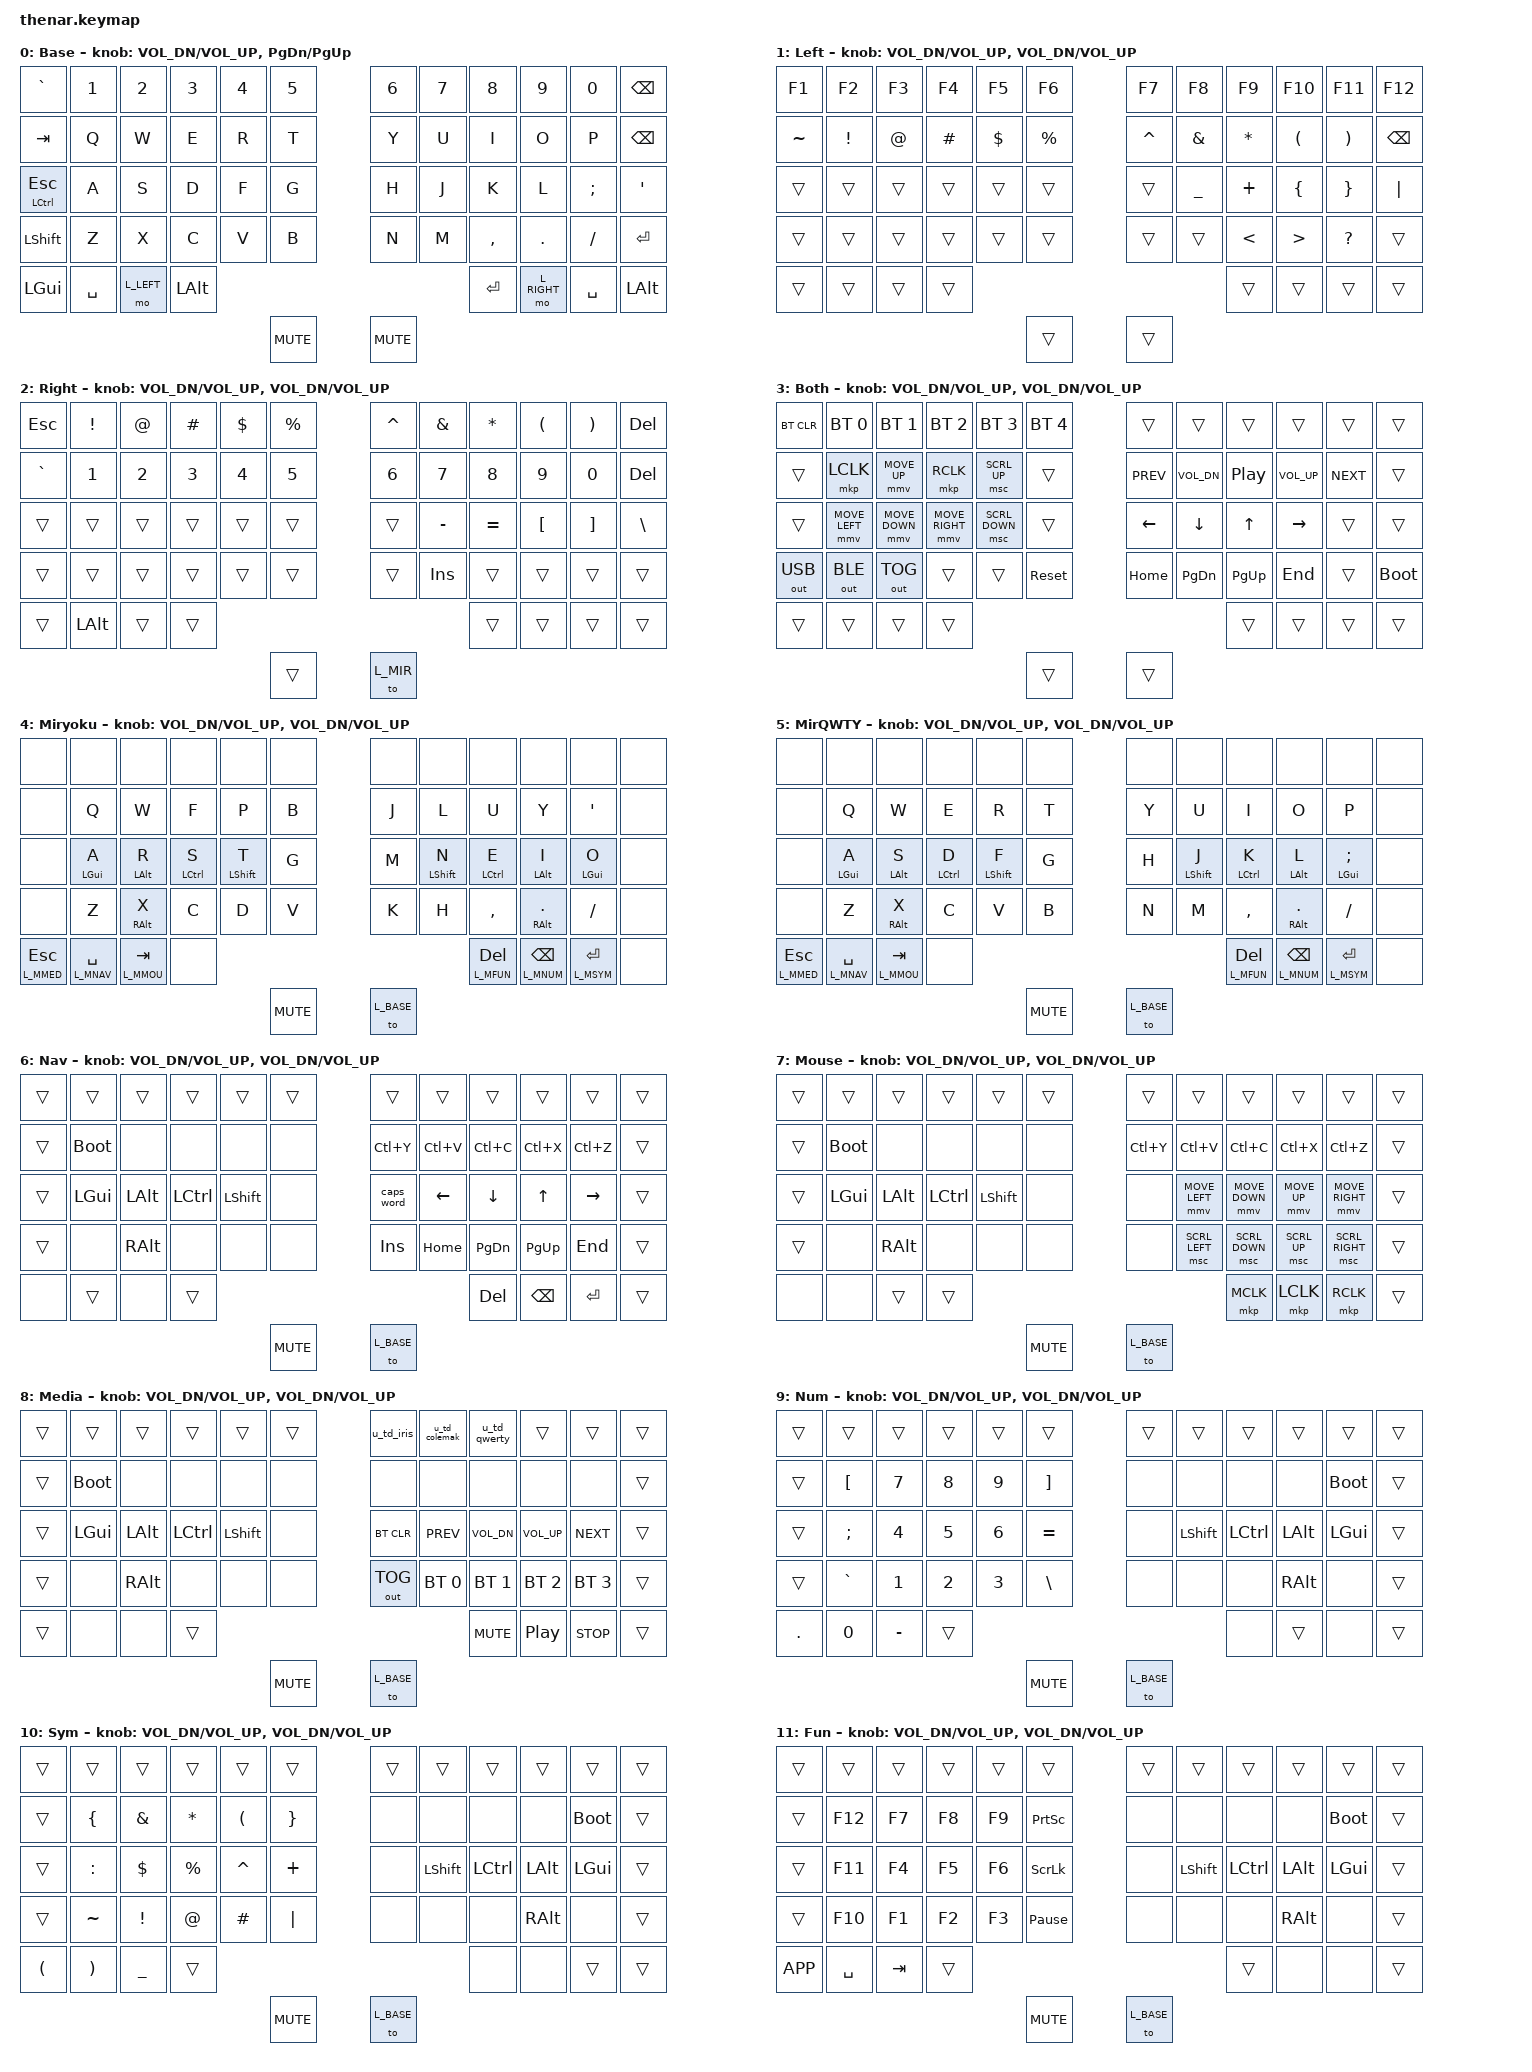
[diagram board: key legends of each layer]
#include <behaviors.dtsi>
#include <dt-bindings/zmk/keys.h>
#include <dt-bindings/zmk/bt.h>
#include <dt-bindings/zmk/outputs.h>
#include <dt-bindings/zmk/pointing.h>

// Daniel's thenar keymap.
//
// Two schemes live side by side:
//
//   1. Iris scheme (layers 0-3): a faithful port of the LIVE Iris CE
//      layout - the VIA config iris_ce_rev__1.layout.json from
//      https://git.lyte.dev/lytedev/keyboards/src/branch/master/iris-ce
//      (per its readme, VIA is the source of truth; keymap.c is older).
//      VIA layers 0/2/3/4 map to Base/Left/Right/Both here. VIA
//      layer 1 (a plain-ESC/TAB/LCTRL "gaming" overlay only reachable
//      through QMK DF() keys) is not ported.
//   2. Miryoku scheme (layers 4-11): the Miryoku reference layers
//      (https://github.com/manna-harbour/miryoku) for learning.
//
// Miryoku enter / variant-swap / exit:
//
//   ENTER : hold the Right layer (right thumb, pos 53) and click the
//           RIGHT encoder - that layer's right-encoder press is
//           &to L_MIR, landing on the Colemak-DH Miryoku base. Gated
//           behind a layer hold so a stray encoder click during normal
//           typing can't flip the layout. (A bare right-encoder click
//           on base is just K_MUTE.)
//   SWAP  : within Miryoku, swap the alpha variant by holding the Media
//           thumb (now pos 48, the OUTER left thumb after the thumb-
//           cluster shift) and DOUBLE-tapping a RIGHT-hand top-row key
//           (single tap does nothing - miryoku_zmk double-tap guard):
//             pos 19 (U) = Colemak-DH base   (double-tap)
//             pos 20 (I) = QWERTY base        (double-tap)
//             pos 18 (Y) = exit to regular Iris (double-tap)
//   EXIT  : click the RIGHT encoder from any Miryoku layer (it is
//           &to L_BASE there), or Media-thumb + double-tap pos-18 (Y).
//
// Radio control (BT profiles, output select, reset, bootloader) used to
// be a separate BT layer reached by a third &mo hop. It now lives
// directly on the Both layer's number row and bottom row.
// Miryoku reaches the same functions from its own Media layer, which
// carries &bt profile keys, &out OUT_TOG and &bt BT_CLR.
//
// Position layout (58 positions, left half then right half, top-to-bottom):
//
//   num   :  0  1  2  3  4  5    |    6  7  8  9 10 11
//   top   : 12 13 14 15 16 17    |   18 19 20 21 22 23
//   home  : 24 25 26 27 28 29    |   30 31 32 33 34 35
//   bot   : 36 37 38 39 40 41    |   42 43 44 45 46 47
//   mod   :        48 49 50 51   |   52 53 54 55
//                  ^^^ ^^^ ^^^  ^^^  ^^^ ^^^ ^^^ ^^^
//             middle  index thumb thumb thumb thumb index middle
//              mod   mod   layer space space layer mod    mod
//
//   enc   : 56 (left press)      |   57 (right press)
//
// Thumb arcs, per Daniel's spec (Iris halves are 4x6 + 1 inner extra +
// 3 thumbs; thenar halves are 4x6 + 2 mods + 2 thumbs + encoder press):
//
//   left,  outer->inner (48 49 50 51): LGUI  SPACE  MO(Left)  LALT
//   right, inner->outer (52 53 54 55): RET   MO(Right)  SPACE  LALT
//     ("outer" = furthest from the board's centre. BOTH halves are
//      written physical-left-to-right, same as the grid rows - so on the
//      right half position 52 is the INNERMOST thumb and 55 the
//      outermost. Confirmed against Daniel's on-hardware observation,
//      not assumed. Backspace lives on the top-row corners.)
//
//      Each hand gets exactly one LALT (51 left, 55 right) and one SPACE
//      (49 left, 54 right). The two layer-holds are one per hand -
//      Left on 50, Right on 53 - so the Both layer is always a
//      two-handed chord, unreachable by either thumb alone.
//
//      Until 2026-07 the matrix transform listed the right half's mod
//      row descending (RC(4,10)..RC(4,7)), so positions 52-55 ran
//      right-to-left while every other row ran left-to-right, and each
//      thumb line had to be read mirrored. The transform is now
//      ascending on both halves and the right-hand thumb groups were
//      reversed to match; key behavior is byte-for-byte unchanged.
//
// The Right layer (VIA's "Config"/MO(3)) is held by ONE key: pos 53, the
// right thumb. The left inner thumb (51) is the LALT modifier, mirroring
// LALT on the right outer thumb (55) - one Alt per hand. So reaching the
// Both layer is necessarily two-handed: 50 + 53. The right INNERMOST
// thumb (52) is Enter, with Backspace on the top-row corners (Daniel:
// "config thumb button to be enter on the right and enter to be
// backspace").
//
// Compromises:
//   - HOME and END (the Iris inner row-4 extras) leave base entirely;
//     they live on the Both layer's right bottom row (positions 42/45).
//   - Iris ESC_CTL (LCTL_T(KC_ESC)) becomes &mt LCTRL ESC. QMK's
//     PERMISSIVE_HOLD is approximated by ZMK's default hold-tap timing.
//   - VIA's Adjust layer is a nearly-empty overlay (plain ESC/TAB/LCTRL
//     on the left outer column). Ported with documented additions on
//     its free slots: the radio row and HOME/PGDN/PGUP/END.
//
// Miryoku notes:
//
//   - 3x5 alphas centered on the main block: outer columns (pinky-outer)
//     and the whole number row are &none, per Miryoku's "unused keys do
//     nothing" convention.
//   - Two alpha bases: Colemak-DH (mir_base, L_MIR) and QWERTY
//     (mir_qwerty, L_MQWY), swapped via the Media-layer base-swap keys
//     above. Both carry GACS home-row mods (GUI/Alt/Ctrl/Shift,
//     outer->inner) and RALT on the bottom-row X and DOT.
//   - Miryoku's 3 thumb keys per hand. Left 48/49/50 (outer->inner) =
//     ESC(Media)/SPC(Nav)/TAB(Mouse), so Nav/SPACE (49) shares the
//     physical key with Iris SPACE. Right 52/53/54 (inner->outer) =
//     DEL(Fun)/BSPC(Num)/RET(Sym). Unused: 51 (left innermost) and
//     55 (right outermost).
//
//     NOTE the asymmetry: the left hand leaves its INNERMOST thumb free
//     while the right hand leaves its OUTERMOST one free, so the two
//     clusters are not mirror images. This is preserved as-is from the
//     layout that was verified working on hardware - it is a layout
//     question, not the transform bug fixed above. Revisit only if the
//     right thumb reach actually feels wrong in use.
//   - Base-swap keys ARE implemented (Media top row, see above).
//     Miryoku's Button layer is omitted; clipboard keys use Ctrl-combos
//     (LC(Z) etc.) instead of AC_* usages for better OS compatibility.
//   - The Mouse layer needs CONFIG_ZMK_POINTING=y (set in thenar.conf).
//
// Encoders:
//   rotation: left = volume everywhere; right = PgDn/PgUp on Base
//             (volume on every other layer).
//   press   : left (56) = K_MUTE everywhere. Right (57) is the Miryoku
//             toggle: on the Iris base it is &to L_MIR (enter Miryoku
//             at Colemak-DH); on every Miryoku layer it is &to L_BASE
//             (exit). One consistent click in and out, since there is
//             no display for layer feedback. The other Iris layers
//             inherit the base right-press via &trans.
//
// NOTE: this file (config/thenar.keymap) is the keymap the build actually
// uses - it OVERRIDES boards/shields/thenar/thenar.keymap per ZMK's
// user-config convention. Edit here, not there.

// LAYER INDICES MUST MATCH THE ORDER OF THE CHILD NODES UNDER keymap {}.
// ZMK numbers layers by node order, not by these names ("Layers are
// numbered in the order that they appear in keymap node" -
// https://zmk.dev/docs/keymaps). Adding a layer in the middle silently
// renumbers everything after it. If you insert one, renumber here and
// re-check with the node-order listing at the bottom of this file.
//
// The first three overlays are named for WHICH THUMB HOLDS THEM, not for
// what is on them - keys get stuffed wherever they fit, so any semantic
// name (Lower/Raise/Adjust/Config/Nav) would go stale immediately. These
// deliberately avoid the word "alt": LALT is a real modifier sitting on
// the thumb keys right next to these holds.
#define L_BASE  0   // base_layer
#define L_LEFT  1   // left_layer   - held with the LEFT thumb (50)
#define L_RIGHT 2   // right_layer  - held with the RIGHT thumb (53)
#define L_BOTH  3   // both_layer   - both of the above (conditional layer)
#define L_MIR   4   // mir_base_layer
#define L_MQWY  5   // mir_qwerty_layer
#define L_MNAV  6   // mir_nav_layer
#define L_MMOU  7   // mir_mouse_layer
#define L_MMED  8   // mir_media_layer
#define L_MNUM  9   // mir_num_layer
#define L_MSYM  10  // mir_sym_layer
#define L_MFUN  11  // mir_fun_layer

/ {
    behaviors {
        // Miryoku-style home-row mod-tap: balanced flavor so a hold only
        // registers when another key is both pressed and released inside
        // the tapping term; quick-tap lets fast key repeats stay taps.
        hm: home_row_mod {
            compatible = "zmk,behavior-hold-tap";
            #binding-cells = <2>;
            bindings = <&kp>, <&kp>;
            flavor = "balanced";
            tapping-term-ms = <200>;
            quick-tap-ms = <150>;
            require-prior-idle-ms = <125>;
        };

        // Miryoku-style thumb layer-tap.
        tl: thumb_layer_tap {
            compatible = "zmk,behavior-hold-tap";
            #binding-cells = <2>;
            bindings = <&mo>, <&kp>;
            flavor = "balanced";
            tapping-term-ms = <200>;
            quick-tap-ms = <150>;
        };

        // Miryoku's double-tap guard for base-layout swaps: single tap
        // does nothing, DOUBLE tap switches base. Verbatim mechanism from
        // miryoku_zmk (miryoku_double_tap_guard.dtsi) - prevents an
        // accidental single press from flipping your whole alpha layout.
        u_td_iris: u_td_iris {
            compatible = "zmk,behavior-tap-dance";
            #binding-cells = <0>;
            tapping-term-ms = <200>;
            bindings = <&none>, <&to L_BASE>;
        };
        u_td_colemak: u_td_colemak {
            compatible = "zmk,behavior-tap-dance";
            #binding-cells = <0>;
            tapping-term-ms = <200>;
            bindings = <&none>, <&to L_MIR>;
        };
        u_td_qwerty: u_td_qwerty {
            compatible = "zmk,behavior-tap-dance";
            #binding-cells = <0>;
            tapping-term-ms = <200>;
            bindings = <&none>, <&to L_MQWY>;
        };
    };

    // Holding BOTH alt thumbs activates Both (nav/arrows/radio), the
    // QMK "adjust layer" pattern. Natural chord: left-thumb Left (50)
    // + right-thumb Right (53). Left has no second key, so that
    // chord is the only way in.
    conditional_layers {
        compatible = "zmk,conditional-layers";
        tri_layer {
            if-layers = <L_LEFT L_RIGHT>;
            then-layer = <L_BOTH>;
        };
    };

    keymap {
        compatible = "zmk,keymap";

        // ------------------------------------------------------------------
        // Iris scheme (VIA layers 0/2/3/4, key by key)
        // ------------------------------------------------------------------

        base_layer {
            display-name = "Base";
            bindings = <
&kp GRAVE      &kp N1 &kp N2 &kp N3 &kp N4 &kp N5                                                &kp N6 &kp N7 &kp N8    &kp N9  &kp N0   &kp BSPC
&kp TAB        &kp Q  &kp W  &kp E  &kp R  &kp T                                                 &kp Y  &kp U  &kp I     &kp O   &kp P    &kp BSPC
&mt LCTRL ESC  &kp A  &kp S  &kp D  &kp F  &kp G                                                 &kp H  &kp J  &kp K     &kp L   &kp SEMI &kp SQT
&kp LSHFT      &kp Z  &kp X  &kp C  &kp V  &kp B                                                 &kp N  &kp M  &kp COMMA &kp DOT &kp FSLH &kp RET
                             &kp LGUI &kp SPACE &mo L_LEFT &kp LALT             &kp RET &mo L_RIGHT &kp SPACE &kp LALT
&kp K_MUTE &kp K_MUTE
            >;

            // Right rotation = paging. PG_DN sits in the same slot as
            // C_VOL_DN on the other layers; flip the pair if the
            // direction feels wrong.
            sensor-bindings = <&inc_dec_kp C_VOL_DN C_VOL_UP &inc_dec_kp PG_DN PG_UP>;
        };

        // VIA layer 2 (held on the Left thumb, 50): F-row over shifted
        // symbols, _ + { } | and < > ? on the right hand. The thumb keys
        // are transparent so Right (53) falls through to its base
        // &mo L_RIGHT - holding Left + Right lets
        // conditional_layers raise Both (no manual
        // &mo L_BOTH overlay, which used to make the tri-layer order- and
        // half-dependent).
        left_layer {
            display-name = "Left";
            bindings = <
&kp F1    &kp F2   &kp F3 &kp F4   &kp F5   &kp F6                                               &kp F7    &kp F8    &kp F9    &kp F10  &kp F11   &kp F12
&kp TILDE &kp EXCL &kp AT &kp HASH &kp DLLR &kp PRCNT                                            &kp CARET &kp AMPS  &kp ASTRK &kp LPAR &kp RPAR  &kp BSPC
&trans    &trans   &trans &trans   &trans   &trans                                               &trans    &kp UNDER &kp PLUS  &kp LBRC &kp RBRC  &kp PIPE
&trans    &trans   &trans &trans   &trans   &trans                                               &trans    &trans    &kp LT    &kp GT   &kp QMARK &trans
                                 &trans &trans    &trans &trans                   &trans &trans &trans &trans
&trans &trans
            >;

            sensor-bindings = <&inc_dec_kp C_VOL_DN C_VOL_UP &inc_dec_kp C_VOL_DN C_VOL_UP>;
        };

        // Right = VIA layer 3 (held on the right thumb, 53):
        // shifted symbols over the number row,
        // - = [ ] \ on the right, INS on M. While held: LALT on SPACE
        // (49, VIA's left-space binding). The Left thumb (50) is
        // transparent, falling through to base &mo L_LEFT so holding
        // Right + Left raises Both too. The
        // right encoder press toggles the Miryoku scheme ON.
        right_layer {
            display-name = "Right";
            bindings = <
&kp ESC   &kp EXCL &kp AT &kp HASH &kp DLLR &kp PRCNT                                            &kp CARET &kp AMPS  &kp ASTRK &kp LPAR &kp RPAR &kp DEL
&kp GRAVE &kp N1   &kp N2 &kp N3   &kp N4   &kp N5                                               &kp N6    &kp N7    &kp N8    &kp N9   &kp N0   &kp DEL
&trans    &trans   &trans &trans   &trans   &trans                                               &trans    &kp MINUS &kp EQUAL &kp LBKT &kp RBKT &kp BSLH
&trans    &trans   &trans &trans   &trans   &trans                                               &trans    &kp INS   &trans    &trans   &trans   &trans
                                 &trans &kp LALT &trans    &trans             &trans &trans &trans &trans
&trans &to L_MIR
            >;

            sensor-bindings = <&inc_dec_kp C_VOL_DN C_VOL_UP &inc_dec_kp C_VOL_DN C_VOL_UP>;
        };

        // VIA layer 4 (Left+Right): the live config keeps this
        // nearly empty - just plain ESC/TAB/LCTRL on the left outer
        // column (un-mod-tapped variants of the base column). Additions
        // on its free slots: the radio row (absorbed from the old BT
        // layer) and HOME/PGDN/PGUP/END on the right bottom row.
        both_layer {
            display-name = "Both";
            // Faithful port of the Iris CE [LA] layer (his tri-layer,
            // reached by holding BOTH thumb alt keys): mouse + wheel on
            // the left, arrows on the right home row (HJKL),
            // HOME/PGDN/PGUP/END on the right bottom row, media on the
            // right top row.
            // KC_ACL0-2 (mouse accel) have no ZMK equivalent -> &none.
            //
            // The old separate BT layer folded into here (2026-07): its
            // radio keys were the only thing on it, they all landed on
            // slots that were &none/&trans here, and reaching it needed a
            // third hop through &mo. Number row is now the radio row -
            // BT_CLR then profiles 0-4, matching the old BT layer's own
            // placement. Output select sits under it on the bottom row.
            //
            // &sys_reset and &bootloader are deliberately parked on the
            // two far bottom corners: they are one hop closer than they
            // used to be, so they want positions no finger visits by
            // accident.
            bindings = <
&bt BT_CLR   &bt BT_SEL 0   &bt BT_SEL 1   &bt BT_SEL 2    &bt BT_SEL 3   &bt BT_SEL 4          &trans &trans   &trans   &trans   &trans    &trans
&trans    &mkp LCLK  &mmv MOVE_UP &mkp RCLK  &msc SCRL_UP  &trans                                &kp C_PREV &kp C_VOL_DN &kp C_PP &kp C_VOL_UP &kp C_NEXT &trans
&trans    &mmv MOVE_LEFT &mmv MOVE_DOWN &mmv MOVE_RIGHT &msc SCRL_DOWN &trans                    &kp LEFT &kp DOWN &kp UP   &kp RIGHT &trans   &trans
&out OUT_USB &out OUT_BLE &out OUT_TOG &trans  &trans      &sys_reset                            &kp HOME &kp PG_DN &kp PG_UP &kp END  &trans   &bootloader
                        &trans &trans &trans &trans                           &trans &trans &trans &trans
&trans &trans
            >;

            sensor-bindings = <&inc_dec_kp C_VOL_DN C_VOL_UP &inc_dec_kp C_VOL_DN C_VOL_UP>;
        };

        // ------------------------------------------------------------------
        // Miryoku scheme (enter: Config + encoder press;
        //                 exit: Media thumb + encoder press)
        // ------------------------------------------------------------------

        // Miryoku alpha: Colemak-DH with GACS home-row mods.
        mir_base_layer {
            display-name = "Miryoku";
            bindings = <
&none &none        &none        &none         &none         &none                                &none  &none         &none         &none        &none        &none
&none &kp Q        &kp W        &kp F         &kp P         &kp B                                &kp J  &kp L         &kp U         &kp Y        &kp SQT      &none
&none &hm LGUI A   &hm LALT R   &hm LCTRL S   &hm LSHFT T   &kp G                                &kp M  &hm LSHFT N   &hm LCTRL E   &hm LALT I   &hm LGUI O   &none
&none &kp Z        &hm RALT X   &kp C         &kp D         &kp V                                &kp K  &kp H         &kp COMMA     &hm RALT DOT &kp FSLH     &none
                   &tl L_MMED ESC &tl L_MNAV SPACE &tl L_MMOU TAB &none          &tl L_MFUN DEL &tl L_MNUM BSPC &tl L_MSYM RET &none
&kp K_MUTE &to L_BASE
            >;

            sensor-bindings = <&inc_dec_kp C_VOL_DN C_VOL_UP &inc_dec_kp C_VOL_DN C_VOL_UP>;
        };

        // Miryoku with QWERTY alphas - for learning the Miryoku layer
        // system without also relearning letter positions. Same thumbs
        // and layer taps as the Colemak-DH mir_base; only the 3x5 alpha
        // block + home-row-mod host keys differ. GACS home-row mods on
        // A/S/D/F + J/K/L/; (GUI Alt Ctrl Shift, outer->inner), RALT on
        // X and . like Miryoku's default. Enter: Config + RIGHT encoder
        // click (Config + LEFT click enters Colemak-DH). Exit: click
        // either encoder here (&tog L_MQWY).
        mir_qwerty_layer {
            display-name = "MirQWTY";
            bindings = <
&none &none        &none        &none         &none         &none                                &none  &none         &none         &none        &none        &none
&none &kp Q        &kp W        &kp E         &kp R         &kp T                                &kp Y  &kp U         &kp I         &kp O        &kp P        &none
&none &hm LGUI A   &hm LALT S   &hm LCTRL D   &hm LSHFT F   &kp G                                &kp H  &hm LSHFT J   &hm LCTRL K   &hm LALT L   &hm LGUI SEMI &none
&none &kp Z        &hm RALT X   &kp C         &kp V         &kp B                                &kp N  &kp M         &kp COMMA     &hm RALT DOT &kp FSLH     &none
                   &tl L_MMED ESC &tl L_MNAV SPACE &tl L_MMOU TAB &none          &tl L_MFUN DEL &tl L_MNUM BSPC &tl L_MSYM RET &none
&kp K_MUTE &to L_BASE
            >;

            sensor-bindings = <&inc_dec_kp C_VOL_DN C_VOL_UP &inc_dec_kp C_VOL_DN C_VOL_UP>;
        };

        mir_nav_layer {
            display-name = "Nav";
            bindings = <
&trans &trans      &trans    &trans    &trans    &trans                                          &trans     &trans    &trans     &trans    &trans     &trans
&trans &bootloader &none     &none     &none     &none                                           &kp LC(Y)  &kp LC(V) &kp LC(C)  &kp LC(X) &kp LC(Z)  &trans
&trans &kp LGUI    &kp LALT  &kp LCTRL &kp LSHFT &none                                           &caps_word &kp LEFT  &kp DOWN   &kp UP    &kp RIGHT  &trans
&trans &none       &kp RALT  &none     &none     &none                                           &kp INS    &kp HOME  &kp PG_DN  &kp PG_UP &kp END    &trans
                             &none &trans &none &trans                       &kp DEL &kp BSPC &kp RET &trans
&kp K_MUTE &to L_BASE
            >;

            sensor-bindings = <&inc_dec_kp C_VOL_DN C_VOL_UP &inc_dec_kp C_VOL_DN C_VOL_UP>;
        };

        // Mouse via ZMK pointing (enabled in thenar.conf).
        mir_mouse_layer {
            display-name = "Mouse";
            bindings = <
&trans &trans      &trans    &trans    &trans    &trans                                          &trans    &trans          &trans          &trans        &trans          &trans
&trans &bootloader &none     &none     &none     &none                                           &kp LC(Y) &kp LC(V)       &kp LC(C)       &kp LC(X)     &kp LC(Z)       &trans
&trans &kp LGUI    &kp LALT  &kp LCTRL &kp LSHFT &none                                           &none     &mmv MOVE_LEFT  &mmv MOVE_DOWN  &mmv MOVE_UP  &mmv MOVE_RIGHT &trans
&trans &none       &kp RALT  &none     &none     &none                                           &none     &msc SCRL_LEFT  &msc SCRL_DOWN  &msc SCRL_UP  &msc SCRL_RIGHT &trans
                             &none &none &trans &trans                       &mkp MCLK &mkp LCLK &mkp RCLK &trans
&kp K_MUTE &to L_BASE
            >;

            sensor-bindings = <&inc_dec_kp C_VOL_DN C_VOL_UP &inc_dec_kp C_VOL_DN C_VOL_UP>;
        };

        // Media; also the Miryoku-side door into the BT layer (right home
        // inner key, where Miryoku puts ext-power toggle - thenar has
        // none), and the Miryoku EXIT: its encoder presses toggle the
        // Miryoku scheme back OFF.
        mir_media_layer {
            display-name = "Media";
            bindings = <
&trans &trans      &trans    &trans    &trans    &trans                                          &u_td_iris   &u_td_colemak &u_td_qwerty  &trans        &trans       &trans
&trans &bootloader &none     &none     &none     &none                                           &none        &none         &none         &none         &none        &trans
&trans &kp LGUI    &kp LALT  &kp LCTRL &kp LSHFT &none                                           &bt BT_CLR     &kp C_PREV    &kp C_VOL_DN  &kp C_VOL_UP  &kp C_NEXT   &trans
&trans &none       &kp RALT  &none     &none     &none                                           &out OUT_TOG &bt BT_SEL 0  &bt BT_SEL 1  &bt BT_SEL 2  &bt BT_SEL 3 &trans
                             &trans &none &none &trans                       &kp C_MUTE &kp C_PP &kp C_STOP &trans
&kp K_MUTE &to L_BASE
            >;

            sensor-bindings = <&inc_dec_kp C_VOL_DN C_VOL_UP &inc_dec_kp C_VOL_DN C_VOL_UP>;
        };

        mir_num_layer {
            display-name = "Num";
            bindings = <
&trans &trans    &trans &trans &trans &trans                                                     &trans &trans    &trans    &trans   &trans      &trans
&trans &kp LBKT  &kp N7 &kp N8 &kp N9 &kp RBKT                                                   &none  &none     &none     &none    &bootloader &trans
&trans &kp SEMI  &kp N4 &kp N5 &kp N6 &kp EQUAL                                                  &none  &kp LSHFT &kp LCTRL &kp LALT &kp LGUI    &trans
&trans &kp GRAVE &kp N1 &kp N2 &kp N3 &kp BSLH                                                   &none  &none     &none     &kp RALT &none       &trans
                        &kp DOT &kp N0 &kp MINUS &trans                      &none &trans &none &trans
&kp K_MUTE &to L_BASE
            >;

            sensor-bindings = <&inc_dec_kp C_VOL_DN C_VOL_UP &inc_dec_kp C_VOL_DN C_VOL_UP>;
        };

        mir_sym_layer {
            display-name = "Sym";
            bindings = <
&trans &trans    &trans   &trans    &trans    &trans                                             &trans &trans    &trans    &trans   &trans      &trans
&trans &kp LBRC  &kp AMPS &kp ASTRK &kp LPAR  &kp RBRC                                           &none  &none     &none     &none    &bootloader &trans
&trans &kp COLON &kp DLLR &kp PRCNT &kp CARET &kp PLUS                                           &none  &kp LSHFT &kp LCTRL &kp LALT &kp LGUI    &trans
&trans &kp TILDE &kp EXCL &kp AT    &kp HASH  &kp PIPE                                           &none  &none     &none     &kp RALT &none       &trans
                          &kp LPAR &kp RPAR &kp UNDER &trans                 &none &none &trans &trans
&kp K_MUTE &to L_BASE
            >;

            sensor-bindings = <&inc_dec_kp C_VOL_DN C_VOL_UP &inc_dec_kp C_VOL_DN C_VOL_UP>;
        };

        mir_fun_layer {
            display-name = "Fun";
            bindings = <
&trans &trans   &trans &trans &trans &trans                                                      &trans &trans    &trans    &trans   &trans      &trans
&trans &kp F12  &kp F7 &kp F8 &kp F9 &kp PSCRN                                                   &none  &none     &none     &none    &bootloader &trans
&trans &kp F11  &kp F4 &kp F5 &kp F6 &kp SLCK                                                    &none  &kp LSHFT &kp LCTRL &kp LALT &kp LGUI    &trans
&trans &kp F10  &kp F1 &kp F2 &kp F3 &kp PAUSE_BREAK                                             &none  &none     &none     &kp RALT &none       &trans
                       &kp K_APP &kp SPACE &kp TAB &trans                    &trans &none &none &trans
&kp K_MUTE &to L_BASE
            >;

            sensor-bindings = <&inc_dec_kp C_VOL_DN C_VOL_UP &inc_dec_kp C_VOL_DN C_VOL_UP>;
        };

        // ------------------------------------------------------------------
        // Shared
        // ------------------------------------------------------------------

    };
};
